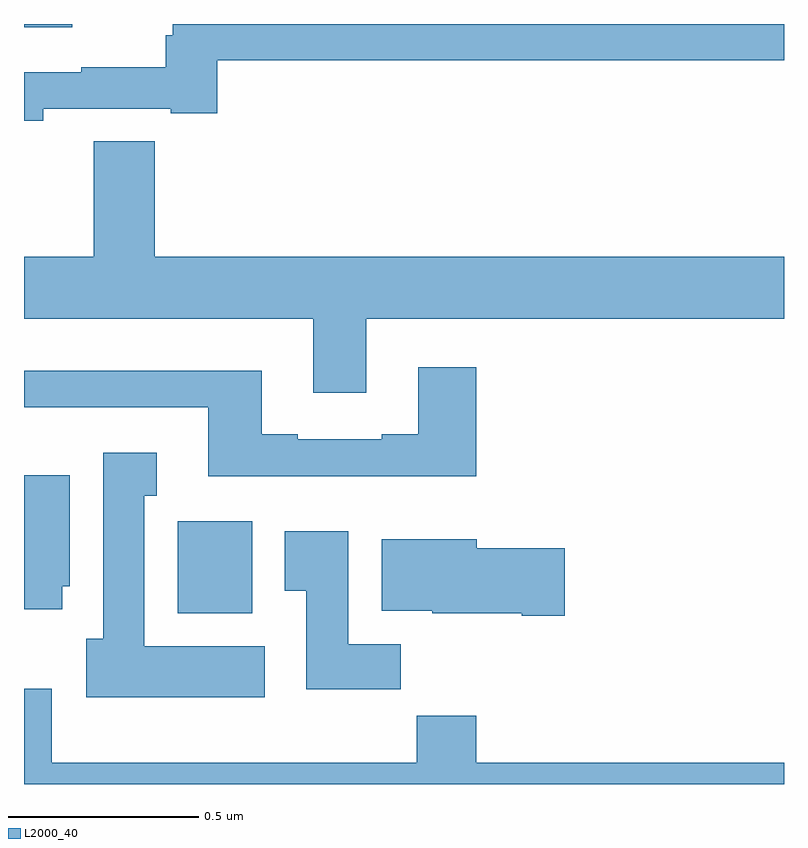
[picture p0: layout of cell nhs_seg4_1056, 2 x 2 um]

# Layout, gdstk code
import gdstk
lib = gdstk.Library(unit=1e-6, precision=1e-09)
def R(c, l, rs):  # rectangles x0, y0, x1, y1
    for r in rs: c.add(gdstk.rectangle(r[:2], r[2:], *l))
def P(c, l, *ps):  # polygons
    for p in ps: c.add(gdstk.Polygon(p, *l))
L2000_40 = (2000, 40)

nhs_seg4_1056 = lib.new_cell('nhs_seg4_1056')
R(nhs_seg4_1056, L2000_40, [(123.404,825.35,123.601,825.592), (123,826.892,123.127,826.9)])
P(nhs_seg4_1056, L2000_40, [(123.051,826.677),(123.386,826.677),(123.386,826.665),(123.509,826.665),(123.509,826.804),(125,826.804),(125,826.9),(123.392,826.9),(123.392,826.87),(123.373,826.87),(123.373,826.786),(123.151,826.786),(123.151,826.773),(123,826.773),(123,826.645),(123.051,826.645)],
  [(123.901,826.124),(125,826.124),(125,826.288),(123.344,826.288),(123.344,826.592),(123.184,826.592),(123.184,826.288),(123,826.288),(123,826.124),(123.761,826.124),(123.761,825.93),(123.901,825.93)],
  [(124.19,825.997),(124.037,825.997),(124.037,825.82),(123.941,825.82),(123.941,825.807),(123.721,825.807),(123.721,825.82),(123.625,825.82),(123.625,825.988),(123,825.988),(123,825.891),(123.485,825.891),(123.485,825.71),(124.19,825.71)],
  [(123.634,825.262),(123.316,825.262),(123.316,825.659),(123.349,825.659),(123.349,825.772),(123.209,825.772),(123.209,825.282),(123.164,825.282),(123.164,825.128),(123.634,825.128)],
  [(123.1,825.42),(123.121,825.42),(123.121,825.712),(123,825.712),(123,825.36),(123.1,825.36)],
  [(123.992,825.268),(123.853,825.268),(123.853,825.565),(123.686,825.565),(123.686,825.409),(123.743,825.409),(123.743,825.15),(123.992,825.15)],
  [(124.423,825.521),(124.192,825.521),(124.192,825.544),(123.941,825.544),(123.941,825.356),(124.074,825.356),(124.074,825.35),(124.31,825.35),(124.31,825.343),(124.423,825.343)],
  [(125,824.956),(124.19,824.956),(124.19,825.08),(124.033,825.08),(124.033,824.956),(123.073,824.956),(123.073,825.151),(123,825.151),(123,824.9),(125,824.9)])

lib.write_gds('nhs_seg4_1056.gds')
